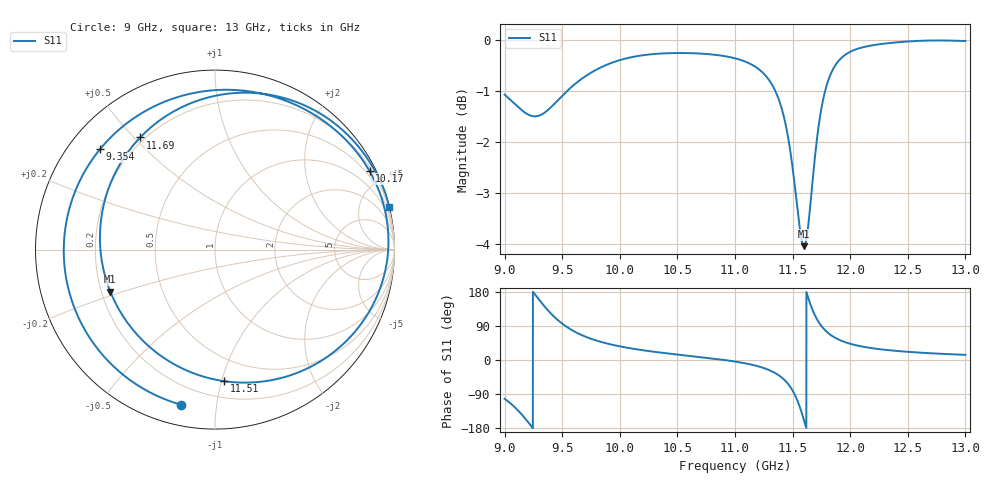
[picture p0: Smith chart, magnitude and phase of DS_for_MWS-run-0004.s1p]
! TOUCHSTONE file generated by CST DESIGN STUDIO
! Date and time: Tue Feb  4 12:43:38 2025
! Project name: C:\Work\MatlabApps\UnitCellOptimizationMatlab\CST\unitcell.cst
! Tree item: Tasks\Sweep1\SPara1\S-Parameters
! Header version: 2024
! Port assignment regex: !\s*Touchstone port\s*([0-9]+)\s*=\s*(CST MWS port|CST DES external port|CST DES block port)\s*(.+)\s* \(\"(.*)\"\)(\s*mode\s*([0-9]+))?.*
! Touchstone port assignment:
! Touchstone port 1 = CST DES external port 1 ("")
# GHz S MA R 50
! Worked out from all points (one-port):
!   4001 points, 9 GHz to 13 GHz, reference 50 ohm
!   lowest |S11| = -4.0 dB at 11.6 GHz (marker M1), VSWR 4.38, Z = 11.8 - j9.16 ohm
!   |S11| at or under -10 dB: nowhere
!   S11 on the Smith chart (normalised r, x): 9 GHz: 0.10, -0.80; 9.354 GHz: 0.09, +0.37; 10.17 GHz: 0.32, +4.15; 11.51 GHz: 0.32, -1.02; 11.69 GHz: 0.18, +0.52; 13 GHz: 0.05, +8.38
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9  0.8846 -102.3
9.106  0.8627 -129.9
9.21  0.8452 -166.1
9.279  0.8426 167.0
9.354  0.8505 138.8
9.424  0.8647 116.0
9.5  0.8824 96.0
9.714  0.9242 60.1
10  0.9564 36.1
10.173  0.9659 27.0
10.5  0.9718 14.3
11  0.9603 -4.0
11.202  0.9378 -16.7
11.332  0.9004 -31.7
11.425  0.8409 -51.4
11.5  0.75 -80.7
11.51  0.7344 -86.2
11.554  0.6647 -116.8
11.598  0.6284 -158.1
11.638  0.6618 161.9
11.685  0.7511 123.7
11.743  0.8486 92.6
11.825  0.9235 67.3
11.902  0.9555 53.6
12  0.9745 42.8
12.192  0.9888 31.1
12.5  0.9974 21.6
13  0.9985 13.6
